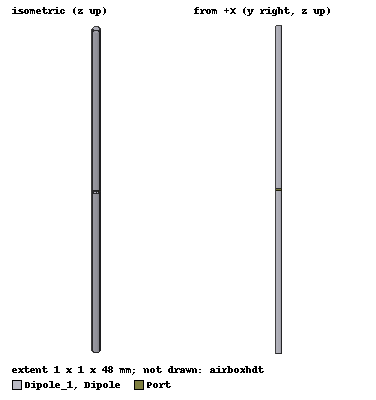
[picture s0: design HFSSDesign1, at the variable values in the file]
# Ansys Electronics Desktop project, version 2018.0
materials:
  vacuum: permittivity=1
  pec: conductivity=1e+030
  air: permittivity=1.0006 permeability=1.0000004

design HFSSDesign1 (HFSS, DrivenModal, model units mm)
options: Calculate_Lossy_Dielectrics
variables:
  lambda = 100mm
  length = 0.48*lambda
  gap = 0.24mm
  dip_length = length/2-gap/2
  dip_radius = lambda/200
  rad_radius = dip_radius+lambda/4
  rad_height = dip_length+gap/2+lambda/10
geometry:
  Dipole [pec] = cylinder(axis=Z, base_centre=(0mm, 0mm, gap/2), radius=dip_radius, height=dip_length)
  Dipole_1 [pec] = Dipole.duplicate_around_axis(axis=X, angle=180deg, total=2)
  Port = rectangle(corner=(0mm, -dip_radius, -gap/2), y_size=2*dip_radius, z_size=gap)
  airboxhdt [air] = cylinder(axis=Z, base_centre=(0mm, 0mm, -rad_height), radius=rad_radius, height=2*rad_height)
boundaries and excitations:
  Rad1: Radiation Objects=airboxhdt
  1: Lumped Port Objects=Port Modes{Mode1{IntLine{middle of Port.edge(z at corner) -> middle of Port.edge(z opposite corner)} CharImp=Zpi}} Impedance=73.2ohm
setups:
  Setup1: HfssDriven Frequency=3GHz MaxDeltaS=0.02 MaximumPasses=20 MinimumPasses=1 MinimumConvergedPasses=1 PercentRefinement=30 BasisOrder=1 PortAccuracy=2
    sweep Sweep1: 2.5GHz to 3.5GHz step 0.001GHz; Type=Fast SaveFields
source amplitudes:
  1:1: 1W 0deg
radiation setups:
  E_Plane: Infinite Sphere Theta=-180deg..180deg step 1deg Phi=0deg..0deg step 0deg
  3D_Sphere: Infinite Sphere Theta=0deg..180deg step 1deg Phi=0deg..360deg step 1deg
  H_Plane: Infinite Sphere Theta=90deg..90deg step 0deg Phi=0deg..360deg step 1deg
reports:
  XY Plot 1: dB(S(1,1)) vs Freq on Setup1 : Sweep1
  XY Plot 2: VSWR(1) vs Freq on Setup1 : Sweep1
  Smith Chart 1: S(1,1) on Setup1 : Sweep1 [Freq=all]
  XY Plot 3: re(Z(1,1)), im(Z(1,1)) vs Freq on Setup1 : Sweep1
  Radiation Pattern 1: dB(GainTotal) vs Theta on Setup1 : LastAdaptive, E_Plane [Phi=all Freq=3GHz]
  Radiation Pattern 2: dB(GainTotal) vs Phi on Setup1 : LastAdaptive, H_Plane [Theta=all Freq=3GHz]
  3D Polar Plot 1: dB(GainTotal) vs Phi, Theta on Setup1 : LastAdaptive, 3D_Sphere [Freq=3GHz]
  S Parameter Plot 1: dB(S(1,1)) vs Freq on Setup1 : Sweep1
